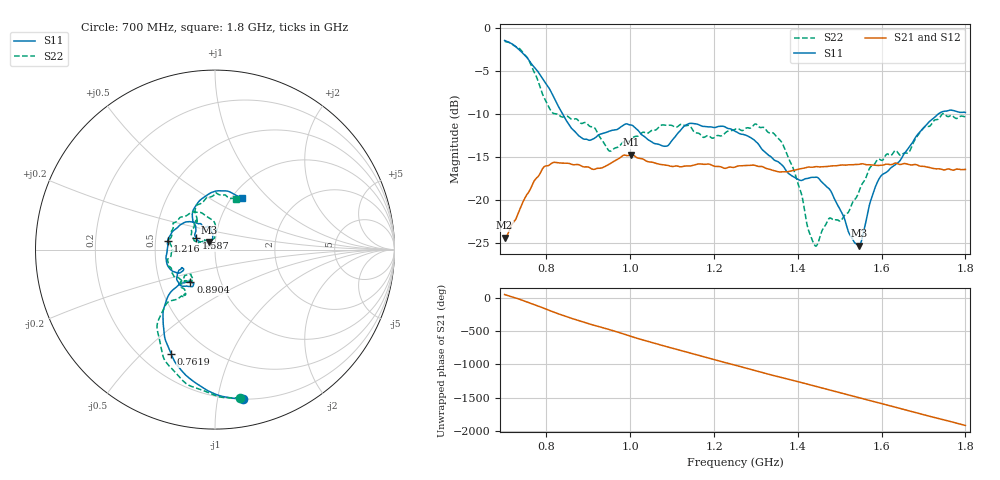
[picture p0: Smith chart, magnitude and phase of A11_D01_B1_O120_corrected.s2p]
! Created with skrf 1.9.0 (http://scikit-rf.org).
# Hz S RI R 50.0
!freq ReS11 ImS11 ReS21 ImS21 ReS12 ImS12 ReS22 ImS22
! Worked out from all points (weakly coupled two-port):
!   1601 points, 700 MHz to 1.8 GHz, reference 50 ohm
!   highest |S21| = -14.74 dB at 1.002 GHz (marker M1); lowest = -24.4 dB at 700 MHz (marker M2)
!   lowest |S11| = -25.4 dB at 1.546 GHz (marker M3), VSWR 1.11, Z = 46.6 + j3.98 ohm
!   |S11| at or under -10 dB: 838.3 MHz to 1.735 GHz (896.8 MHz wide, 69.7 % of centre)
!   |S22| runs from -25.4 to -1.5 dB; largest |S21 - S12| = 0.0037
!   S11 on the Smith chart (normalised r, x): 700 MHz: 0.20, -1.19; 761.9 MHz: 0.32, -0.62; 890.4 MHz: 0.72, -0.27; 1.216 GHz: 0.58, +0.06; 1.587 GHz: 0.80, +0.10; 1.8 GHz: 1.12, +0.71
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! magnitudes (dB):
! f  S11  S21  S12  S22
! 700 MHz  -1.4  -24.4  -24.2  -1.5
! 761.9 MHz  -4.0  -18.7  -18.7  -4.2
! 812.8 MHz  -7.6  -15.7  -15.7  -9.8
! 883.6 MHz  -12.8  -16.1  -16.0  -11.1
! 890.4 MHz  -12.9  -16.2  -16.1  -11.0
! 950.9 MHz  -12.0  -15.8  -15.8  -14.3
! 1.002 GHz  -11.3  -14.7  -14.8  -13.0
! 1.067 GHz  -13.5  -15.8  -15.8  -11.6
! 1.14 GHz  -11.1  -16.1  -16.0  -11.3
! 1.216 GHz  -11.4  -16.1  -16.1  -12.6
! 1.25 GHz  -12.0  -16.2  -16.1  -11.8
! 1.36 GHz  -15.8  -16.8  -16.8  -13.2
! 1.394 GHz  -17.4  -16.5  -16.5  -17.0
! 1.434 GHz  -17.4  -16.2  -16.2  -24.6
! 1.477 GHz  -18.8  -16.1  -16.1  -22.1
! 1.504 GHz  -21.4  -15.9  -15.9  -22.3
! 1.546 GHz  -25.4  -15.9  -15.8  -19.0
! 1.587 GHz  -18.3  -16.0  -16.0  -15.5
! 1.617 GHz  -16.5  -15.9  -15.8  -14.7
! 1.663 GHz  -14.0  -15.9  -15.9  -14.5
! 1.735 GHz  -10.0  -16.4  -16.4  -10.6
! 1.8 GHz  -9.8  -16.5  -16.5  -10.3
